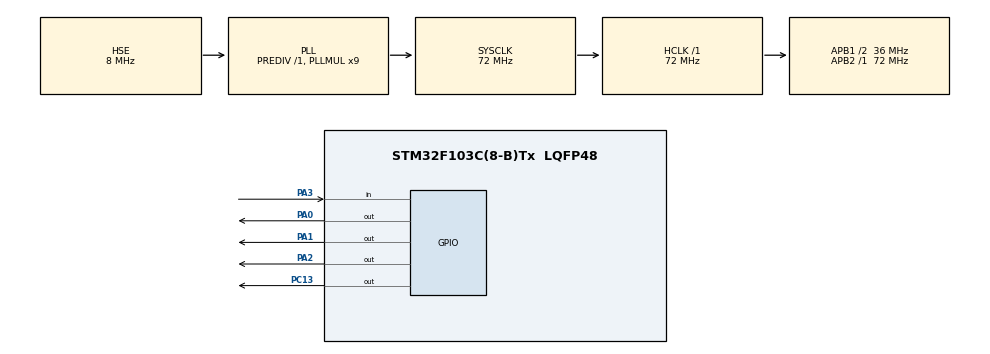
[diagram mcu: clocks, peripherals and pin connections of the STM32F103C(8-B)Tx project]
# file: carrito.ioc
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Mcu.Family=STM32F1
Mcu.Name=STM32F103C(8-B)Tx
Mcu.Package=LQFP48
NVIC.PriorityGroup=NVIC_PRIORITYGROUP_4
NVIC.TIM2_IRQn=true\:0\:0\:false\:false\:true\:true\:true\:true
PA0-WKUP.Signal=GPIO_Output
PA1.Signal=GPIO_Output
PA2.Signal=GPIO_Output
PA3.Signal=GPIO_Input
PC13-TAMPER-RTC.Signal=GPIO_Output
PD0-OSC_IN.Mode=HSE-External-Oscillator
PD0-OSC_IN.Signal=RCC_OSC_IN
PD1-OSC_OUT.Mode=HSE-External-Oscillator
PD1-OSC_OUT.Signal=RCC_OSC_OUT
ProjectManager.HeapSize=0x200
ProjectManager.StackSize=0x400
ProjectManager.TargetToolchain=STM32CubeIDE
RCC.AHBFreq_Value=72000000
RCC.APB1CLKDivider=RCC_HCLK_DIV2
RCC.APB1Freq_Value=36000000
RCC.APB1TimFreq_Value=72000000
RCC.APB2Freq_Value=72000000
RCC.APB2TimFreq_Value=72000000
RCC.HCLKFreq_Value=72000000
RCC.PLLMUL=RCC_PLL_MUL9
RCC.PLLSourceVirtual=RCC_PLLSOURCE_HSE
RCC.SYSCLKFreq_VALUE=72000000
RCC.SYSCLKSource=RCC_SYSCLKSOURCE_PLLCLK
RCC.USBFreq_Value=72000000
TIM2.Period=59999
TIM2.Prescaler=71
VP_SYS_VS_ND.Mode=No_Debug
VP_TIM2_VS_ClockSourceINT.Mode=Internal
board=custom

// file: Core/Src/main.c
/* USER CODE BEGIN Header */
/**
  ******************************************************************************
  * @file           : main.c
  * @brief          : Main program body
  ******************************************************************************
  */
/* USER CODE END Header */
#include "main.h"

TIM_HandleTypeDef htim2;
volatile uint32_t distancia_cm = 0;

void SystemClock_Config(void);
static void MX_GPIO_Init(void);
static void MX_TIM2_Init(void);

/* USER CODE BEGIN PFP */
uint32_t HC_SR04_LeerDistancia(void);
/* USER CODE END PFP */

int main(void)
{
  /* MCU Configuration--------------------------------------------------------*/
  HAL_Init();
  SystemClock_Config();
  MX_GPIO_Init();
  MX_TIM2_Init();

  /* USER CODE BEGIN 2 */

  // Iniciar el Timer 2 con interrupción (dispara cada 60 ms)
  HAL_TIM_Base_Start_IT(&htim2);

  /* USER CODE END 2 */

  /* Infinite loop */
  while (1)
  {
    // El bucle principal queda vacío. Todo se hace en la interrupción del Timer 2.
  }
}

void SystemClock_Config(void)
{
  RCC_OscInitTypeDef RCC_OscInitStruct = {0};
  RCC_ClkInitTypeDef RCC_ClkInitStruct = {0};

  // Usar el cristal externo HSE a 8 MHz
  RCC_OscInitStruct.OscillatorType = RCC_OSCILLATORTYPE_HSE;
  RCC_OscInitStruct.HSEState = RCC_HSE_ON;
  RCC_OscInitStruct.HSEPredivValue = RCC_HSE_PREDIV_DIV1;
  RCC_OscInitStruct.HSIState = RCC_HSI_ON;
  RCC_OscInitStruct.PLL.PLLState = RCC_PLL_ON;
  RCC_OscInitStruct.PLL.PLLSource = RCC_PLLSOURCE_HSE;
  RCC_OscInitStruct.PLL.PLLMUL = RCC_PLL_MUL9; // 8 MHz * 9 = 72 MHz
  if (HAL_RCC_OscConfig(&RCC_OscInitStruct) != HAL_OK)
  {
    Error_Handler();
  }

  RCC_ClkInitStruct.ClockType = RCC_CLOCKTYPE_HCLK|RCC_CLOCKTYPE_SYSCLK
                              |RCC_CLOCKTYPE_PCLK1|RCC_CLOCKTYPE_PCLK2;
  RCC_ClkInitStruct.SYSCLKSource = RCC_SYSCLKSOURCE_PLLCLK;
  RCC_ClkInitStruct.AHBCLKDivider = RCC_SYSCLK_DIV1;
  RCC_ClkInitStruct.APB1CLKDivider = RCC_HCLK_DIV2;
  RCC_ClkInitStruct.APB2CLKDivider = RCC_HCLK_DIV1;

  if (HAL_RCC_ClockConfig(&RCC_ClkInitStruct, FLASH_LATENCY_2) != HAL_OK)
  {
    Error_Handler();
  }
}

static void MX_TIM2_Init(void)
{
  TIM_ClockConfigTypeDef sClockSourceConfig = {0};
  TIM_MasterConfigTypeDef sMasterConfig = {0};

  __HAL_RCC_TIM2_CLK_ENABLE();

  htim2.Instance = TIM2;
  htim2.Init.Prescaler = 71;       // 72 MHz / (71+1) = 1 MHz (1 tick = 1 us)
  htim2.Init.CounterMode = TIM_COUNTERMODE_UP;
  htim2.Init.Period = 59999;       // 1 MHz * 60000 = 60 ms
  htim2.Init.ClockDivision = TIM_CLOCKDIVISION_DIV1;
  htim2.Init.AutoReloadPreload = TIM_AUTORELOAD_PRELOAD_DISABLE;
  if (HAL_TIM_Base_Init(&htim2) != HAL_OK)
  {
    Error_Handler();
  }
  sClockSourceConfig.ClockSource = TIM_CLOCKSOURCE_INTERNAL;
  if (HAL_TIM_ConfigClockSource(&htim2, &sClockSourceConfig) != HAL_OK)
  {
    Error_Handler();
  }
  sMasterConfig.MasterOutputTrigger = TIM_TRGO_RESET;
  sMasterConfig.MasterSlaveMode = TIM_MASTERSLAVEMODE_DISABLE;
  if (HAL_TIMEx_MasterConfigSynchronization(&htim2, &sMasterConfig) != HAL_OK)
  {
    Error_Handler();
  }
}

static void MX_GPIO_Init(void)
{
  GPIO_InitTypeDef GPIO_InitStruct = {0};

  __HAL_RCC_GPIOA_CLK_ENABLE();

  // Inicializar pines en BAJO
  HAL_GPIO_WritePin(GPIOA, GPIO_PIN_0|GPIO_PIN_1|GPIO_PIN_2, GPIO_PIN_RESET);

  // Configurar PA0 (Motor Izq), PA1 (Motor Der) y PA2 (Trig) como Salidas
  GPIO_InitStruct.Pin = GPIO_PIN_0|GPIO_PIN_1|GPIO_PIN_2;
  GPIO_InitStruct.Mode = GPIO_MODE_OUTPUT_PP;
  GPIO_InitStruct.Pull = GPIO_NOPULL;
  GPIO_InitStruct.Speed = GPIO_SPEED_FREQ_LOW;
  HAL_GPIO_Init(GPIOA, &GPIO_InitStruct);

  // Configurar PA3 (Echo) como Entrada
  GPIO_InitStruct.Pin = GPIO_PIN_3;
  GPIO_InitStruct.Mode = GPIO_MODE_INPUT;
  GPIO_InitStruct.Pull = GPIO_NOPULL;
  HAL_GPIO_Init(GPIOA, &GPIO_InitStruct);
}

/* USER CODE BEGIN 4 */

/**
  * @brief  Leer distancia del HC-SR04
  * @retval Distancia en centímetros
  */
uint32_t HC_SR04_LeerDistancia(void)
{
    uint32_t tiempo_inicio = 0;
    uint32_t tiempo_fin = 0;
    uint32_t duracion_pulso = 0;
    uint32_t timeout = 0;

    // 1. Enviar pulso Trig de 10 us
    HAL_GPIO_WritePin(GPIOA, GPIO_PIN_2, GPIO_PIN_SET);
    for(volatile int i = 0; i < 720; i++); // ~10 us a 72 MHz
    HAL_GPIO_WritePin(GPIOA, GPIO_PIN_2, GPIO_PIN_RESET);

    // 2. Esperar Echo en ALTO
    while (HAL_GPIO_ReadPin(GPIOA, GPIO_PIN_3) == GPIO_PIN_RESET) {
        timeout++;
        if (timeout > 100000) return 0;
    }

    // 3. Guardar tiempo de inicio
    tiempo_inicio = __HAL_TIM_GET_COUNTER(&htim2);

    // 4. Esperar Echo en BAJO
    timeout = 0;
    while (HAL_GPIO_ReadPin(GPIOA, GPIO_PIN_3) == GPIO_PIN_SET) {
        timeout++;
        if (timeout > 100000) return 0;
    }

    // 5. Guardar tiempo de fin
    tiempo_fin = __HAL_TIM_GET_COUNTER(&htim2);

    // 6. Calcular duración (evitando desbordamiento)
    if (tiempo_fin >= tiempo_inicio) {
        duracion_pulso = tiempo_fin - tiempo_inicio;
    } else {
        duracion_pulso = (59999 - tiempo_inicio) + tiempo_fin;
    }

    // 7. Convertir a distancia (cm)
    // 1 tick = 1 us. Distancia = (ticks * 0.034) / 2
    return (duracion_pulso * 34) / 2000;
}

/**
  * @brief  Callback del Timer 2 (cada 60 ms)
  */
void HAL_TIM_PeriodElapsedCallback(TIM_HandleTypeDef *htim)
{
    if (htim->Instance == TIM2)
    {
        uint32_t dist = HC_SR04_LeerDistancia();

        if (dist > 0 && dist <= 15)
        {
            // Pared detectada: apagar motores
            HAL_GPIO_WritePin(GPIOA, GPIO_PIN_0, GPIO_PIN_RESET);
            HAL_GPIO_WritePin(GPIOA, GPIO_PIN_1, GPIO_PIN_RESET);
        }
        else
        {
            // Camino libre: encender motores
            HAL_GPIO_WritePin(GPIOA, GPIO_PIN_0, GPIO_PIN_SET);
            HAL_GPIO_WritePin(GPIOA, GPIO_PIN_1, GPIO_PIN_SET);
        }
    }
}
/* USER CODE END 4 */

void Error_Handler(void)
{
  __disable_irq();
  while (1)
  {
  }
}
